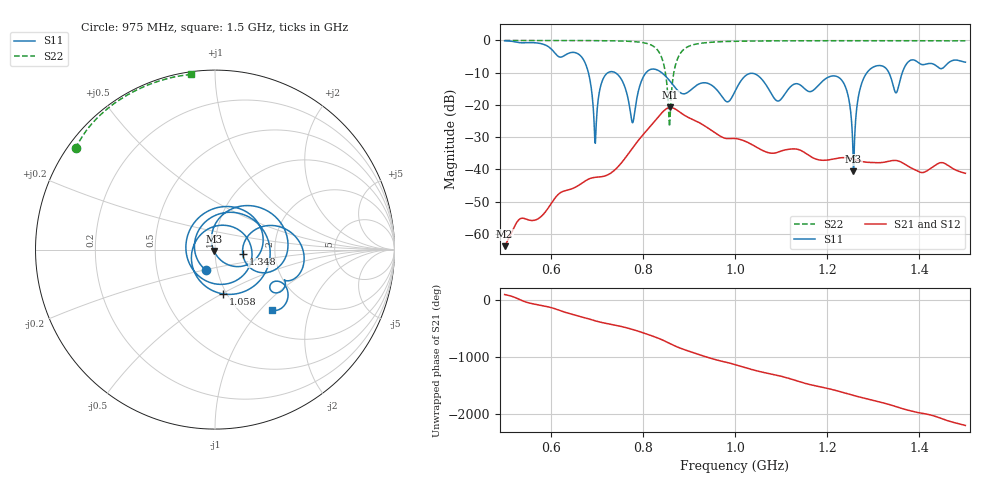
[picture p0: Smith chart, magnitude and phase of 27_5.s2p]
! TOUCHSTONE file generated by CST MICROWAVE STUDIO
! Date and time: Mon Nov 30 08:10:54 2020
! Project name: Scenario_1_Planar_Body_Tissue_Out_of_Line.cst
! Parameters = {dy1=103.8; L_HA=400; Ltissue=700; MT=2.54; Rad_Dielectric=30; Rad_Lower=7.3; Rad_Upper=30; Wtissue=700; a_HA=580; a_WG=246; b_HA=500; b_WG=121; c_HA=0; c_WG=187; d_feed=85; dx1=866; h_feed=15; h_lower=18; h_upper=40; hfat=3; hgap=25; hmuscle=50; hskin=1.5}
! Header version: 2018
! Port assignment regex: !\s*Touchstone port\s*([0-9]+)\s*=\s*(CST MWS port|CST DS port)\s*([0-9]+|Zmin|Zmax)\s*\(\"(.*)\"\)(\s*mode\s*([0-9]+))?.*
! Touchstone port assignment:
! Touchstone port 1 = CST MWS port 1 ("")
! Touchstone port 2 = CST MWS port 2 ("")
# GHz S DB R 50
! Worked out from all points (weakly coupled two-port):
!   1003 points, 500 MHz to 1.5 GHz, reference 50 ohm
!   highest |S21| = -20.79 dB at 860 MHz (marker M1); lowest = -63.8 dB at 500 MHz (marker M2)
!   lowest |S11| = -40.6 dB at 1.257 GHz (marker M3), VSWR 1.02, Z = 49.4 - j0.729 ohm
!   |S11| at or under -10 dB: 681.8 MHz to 724.2 MHz (42.33 MHz wide, 6.02 % of centre); 740.2 MHz to 807 MHz (66.84 MHz wide, 8.64 % of centre); 840.9 MHz to 1.286 GHz (445.4 MHz wide, 41.9 % of centre) (the widest 3 of 4)
!   |S22| runs from -26.7 to 0.0 dB; largest |S21 - S12| = 7.9e-06
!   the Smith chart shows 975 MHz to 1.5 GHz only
!   S11 on the Smith chart (normalised r, x): 975 MHz: 0.88, -0.21; 1.058 GHz: 0.96, -0.51; 1.348 GHz: 1.36, -0.07; 1.5 GHz: 1.36, -1.16
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0.5  -0.10 -122.1  -63.77 103.8  -63.77 103.8  -0.01 151.2
0.583  -1.14 -167.9  -54.06 -92.3  -54.06 -92.3  -0.02 145.4
0.667  -5.10 122.9  -44.32 73.0  -44.32 73.0  -0.04 138.4
0.697  -31.87 -63.4  -42.42 1.6  -42.42 1.6  -0.06 135.2
0.723  -10.12 169.5  -41.72 -47.3  -41.72 -47.3  -0.10 131.9
0.778  -25.52 -40.8  -33.29 -149.9  -33.29 -149.9  -0.33 120.9
0.807  -10.00 157.9  -28.14 134.0  -28.14 134.0  -0.87 109.0
0.834  -9.35 72.9  -23.63 54.8  -23.63 54.8  -3.38 83.7
0.86  -12.80 -11.9  -20.79 -42.2  -20.79 -42.2  -21.01 -110.4
0.885  -16.47 -117.6  -22.71 -129.3  -22.71 -129.3  -3.33 -178.3
0.921  -13.55 85.1  -25.38 131.6  -25.38 131.6  -0.98 157.4
0.975  -18.04 -112.7  -30.17 5.2  -30.17 5.2  -0.35 144.0
1  -15.77 109.8  -30.39 -47.1  -30.39 -47.1  -0.27 140.2
1.058  -12.00 -79.5  -33.97 -177.1  -33.97 -177.1  -0.16 133.6
1.167  -15.71 171.4  -36.23 -46.0  -36.23 -46.0  -0.09 124.2
1.23  -12.05 -5.1  -36.37 -165.6  -36.37 -165.6  -0.09 119.4
1.257  -40.61 -127.7  -36.76 132.0  -36.76 132.0  -0.08 117.3
1.282  -10.96 58.9  -37.69 80.5  -37.69 80.5  -0.08 115.5
1.334  -10.00 -23.8  -37.45 -26.3  -37.44 -26.3  -0.08 111.5
1.348  -16.09 -9.5  -37.19 -61.0  -37.19 -61.0  -0.09 110.4
1.381  -6.15 -1.3  -39.41 -138.9  -39.41 -138.9  -0.09 107.9
1.5  -6.73 -46.6  -41.18 -35.8  -41.18 -35.8  -0.13 97.9
